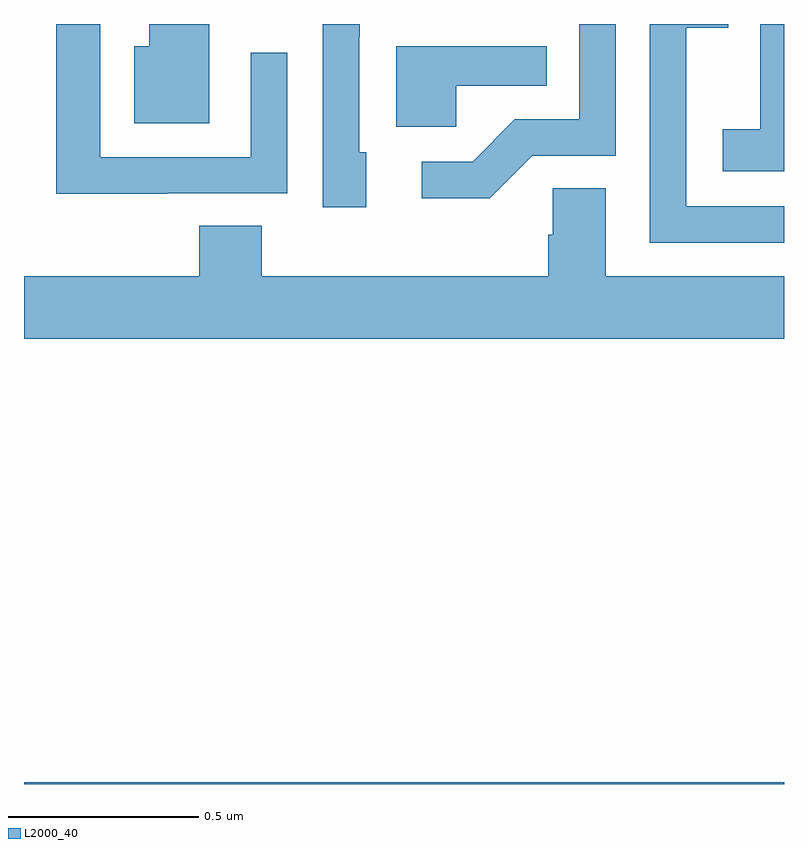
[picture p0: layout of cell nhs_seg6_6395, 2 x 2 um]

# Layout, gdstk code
import gdstk
lib = gdstk.Library(unit=1e-6, precision=1e-09)
def R(c, l, rs):  # rectangles x0, y0, x1, y1
    for r in rs: c.add(gdstk.rectangle(r[:2], r[2:], *l))
def P(c, l, *ps):  # polygons
    for p in ps: c.add(gdstk.Polygon(p, *l))
L2000_40 = (2000, 40)

nhs_seg6_6395 = lib.new_cell('nhs_seg6_6395')
R(nhs_seg6_6395, L2000_40, [(195,943.5,197,943.504)])
P(nhs_seg6_6395, L2000_40, [(195.487,945.5),(195.329,945.5),(195.329,945.442),(195.29,945.442),(195.29,945.239),(195.487,945.239)],
  [(195.377,945.054),(195.693,945.054),(195.693,945.424),(195.597,945.424),(195.597,945.15),(195.201,945.15),(195.201,945.5),(195.085,945.5),(195.085,945.053),(195.377,945.053)],
  [(196.338,945.153),(196.557,945.153),(196.557,945.5),(196.461,945.5),(196.461,945.249),(196.292,945.249),(196.181,945.138),(196.047,945.138),(196.047,945.041),(196.225,945.041)],
  [(197,945.5),(196.938,945.5),(196.938,945.452),(196.937,945.452),(196.937,945.223),(196.839,945.223),(196.839,945.113),(197,945.113)],
  [(195.901,945.162),(195.882,945.162),(195.882,945.466),(195.883,945.466),(195.883,945.5),(195.786,945.5),(195.786,945.018),(195.901,945.018)],
  [(197,945.021),(196.743,945.021),(196.743,945.49),(196.853,945.49),(196.853,945.5),(196.647,945.5),(196.647,944.925),(197,944.925)],
  [(196.137,945.338),(196.376,945.338),(196.376,945.442),(195.98,945.442),(195.98,945.23),(196.137,945.23)],
  [(196.392,945.068),(196.392,944.945),(196.379,944.945),(196.379,944.836),(195.626,944.836),(195.626,944.969),(195.461,944.969),(195.461,944.836),(195,944.836),(195,944.672),(197,944.672),(197,944.836),(196.531,944.836),(196.531,945.068)])

lib.write_gds('nhs_seg6_6395.gds')
